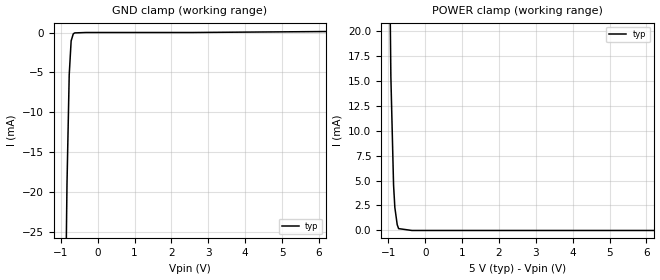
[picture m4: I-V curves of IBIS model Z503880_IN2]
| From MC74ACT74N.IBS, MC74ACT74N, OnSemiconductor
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| (C) COPYRIGHT 1993-2000
| MENTOR GRAPHICS CORPORATION
| ICX STANDARD LIBRARY, ICX PROJECT MODELING,
| ICX CUSTOM MODELING, ICX VENDOR MODEL
| ALL RIGHTS RESERVED.
| THE FOLLOWING ARE TRADEMARKS OR SERVICE MARKS OF
| MENTOR GRAPHICS CORPORATION:ICX (R), ICX STANDARD
| LIBRARY(R), ICX PROJECT MODELING(R), ICX CUSTOM
| MODELING(R), qualityIBIS(TM), MODELVIEWER(TM),
| AND MODELEDITOR(TM)
| ALL COPIES OF SOFTWARE, INCLUDING BUT NOT LIMITED TO
| ANY MODIFICATIONS, ENHANCEMENTS OR DERIVATIVE WORKS,
| MUST CONTAIN ALL MENTOR GRAPHICS CORPORATION'S
| NOTICES AND LEGENDS, INCLUDING THOSE EMBEDDED IN
| SOFTWARE AND THOSE AFFIXED TO SOFTWARE MEDIUM
| AND CONTAINER, AS RECEIVED FROM MENTOR GRAPHICS
| CORPORATION.
| Model Application Version 1.89 2/18/99.
[Model] Z503880_IN2
Model_type Input
Vinl = 800.0mV
Vinh = 2.000V
C_comp 4.000pF NA NA
| variable typ   min   max
[Voltage Range] 5.000V NA NA
[GND Clamp Reference] 0.000V NA NA
[POWER Clamp Reference] 5.000V NA NA
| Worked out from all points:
|   GND clamp passes 1 mA (typ) near -0.72 V on its own axis
|   POWER clamp passes 1 mA (typ) near -0.78 V on its own axis
[GND Clamp]
-5V       -1.626A    NA         NA
-835mV    -19.11mA   NA         NA
-774.6mV  -5.338mA   NA         NA
-722.1mV  -1.044mA   NA         NA
-664.1mV  -164.5uA   NA         NA
-625.6mV  -44.83uA   NA         NA
-312.8mV  6.432uA    NA         NA
2.569V    6.432uA    NA         NA
10V       257uA      NA         NA
[POWER Clamp]
-5V       2.103A     NA         NA
-1.035V   50.65mA    NA         NA
-933mV    15.39mA    NA         NA
-860mV    4.561mA    NA         NA
-825mV    2.301mA    NA         NA
-761mV    582.6uA    NA         NA
-723mV    186.7uA    NA         NA
-361.5mV  0A         NA         NA
10V       0A         NA         NA
